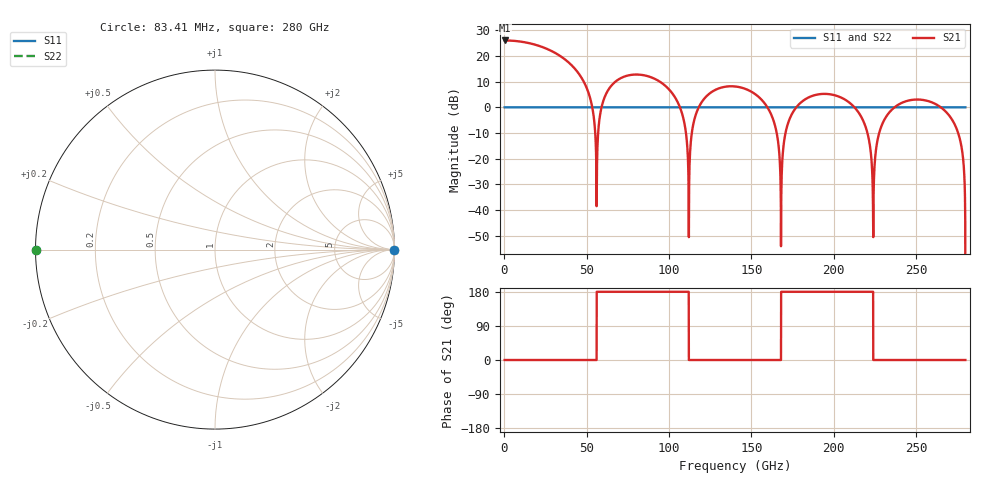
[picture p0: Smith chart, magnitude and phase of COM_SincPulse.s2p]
! File created by SignalIntegrity v1.4.3: Signal and Power Integrity Tools
! https://github.com/Nubis-Communications/SignalIntegrity
# MHz S MA R 50.0
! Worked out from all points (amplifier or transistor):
!   3357 points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, 83.41 MHz to 280 GHz, reference 50 ohm
!   highest |S21| = 26.0 dB at 83.41 MHz (marker M1)
!   |S21| within 3 dB of that: start of sweep to 24.77 GHz
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83.4078  1 0.0  20 0.0  0 0.0  1 180.0
9008.043  1 0.0  19.16 0.0  0 0.0  1 180.0
18516.53  1 0.0  16.59 0.0  0 0.0  1 180.0
46791.78  1 0.0  3.763 0.0  0 0.0  1 180.0
56050.04  1 0.0  0.01786 180.0  0 0.0  1 180.0
69979.15  1 0.0  3.598 180.0  0 0.0  1 180.0
81072.39  1 0.0  4.338 180.0  0 0.0  1 180.0
93416.74  1 0.0  3.296 180.0  0 0.0  1 180.0
112016.7  1 0.0  0.002978 0.0  0 0.0  1 180.0
119440  1 0.0  1.21 0.0  0 0.0  1 180.0
140041.7  1 0.0  2.546 0.0  0 0.0  1 180.0
160560  1 0.0  0.9001 0.0  0 0.0  1 180.0
167983.3  1 0.0  0.001986 0.0  0 0.0  1 180.0
173404.8  1 0.0  0.6139 180.0  0 0.0  1 180.0
186750.1  1 0.0  1.658 180.0  0 0.0  1 180.0
214107.8  1 0.0  0.8773 180.0  0 0.0  1 180.0
223950  1 0.0  0.004469 180.0  0 0.0  1 180.0
233375  1 0.0  0.7669 0.0  0 0.0  1 180.0
252058.4  1 0.0  1.414 0.0  0 0.0  1 180.0
272409.9  1 0.0  0.5406 0.0  0 0.0  1 180.0
278248.4  1 0.0  0.1257 0.0  0 0.0  1 180.0
280000  1 0.0  0 0.0  0 0.0  1 180.0
